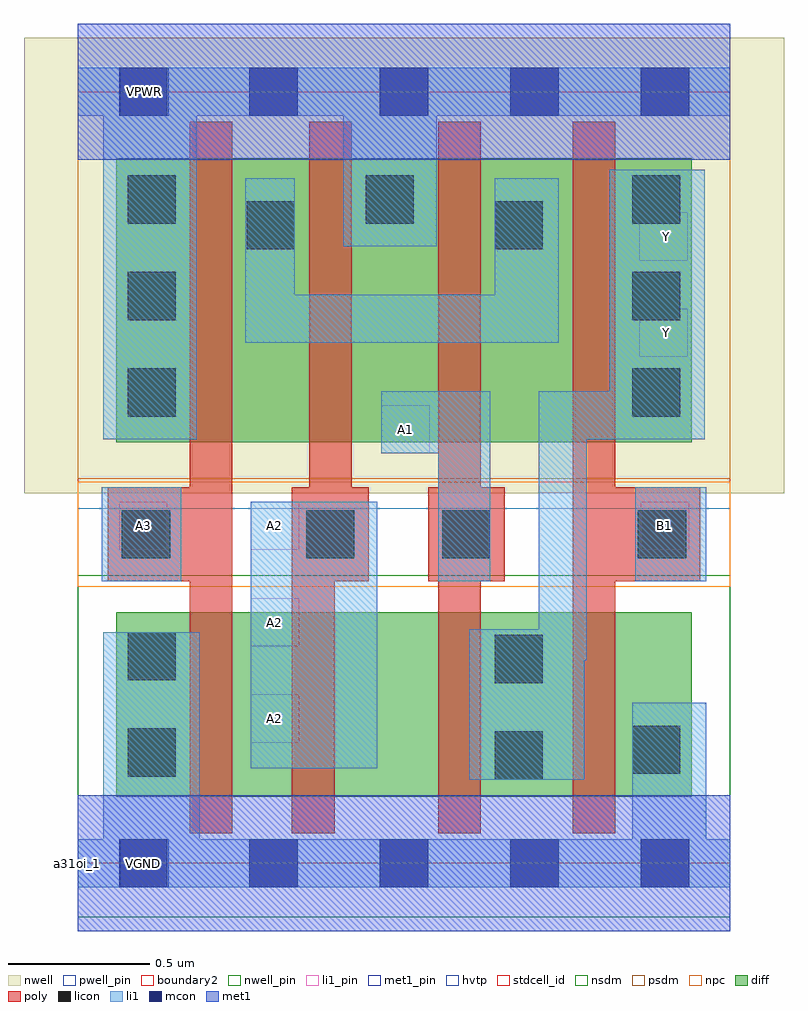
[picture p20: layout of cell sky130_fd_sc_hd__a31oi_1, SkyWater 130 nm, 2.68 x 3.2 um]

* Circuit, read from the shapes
.subckt sky130_fd_sc_hd__a31oi_1 A1 A2 A3 B1 VGND VNB VPB VPWR Y
XM1 n1 A3 VGND VNB sky130_fd_pr__nfet_01v8 w=0.65 l=0.15
XM2 n2 A2 n1 VNB sky130_fd_pr__nfet_01v8 w=0.65 l=0.15
XM3 Y A1 n2 VNB sky130_fd_pr__nfet_01v8 w=0.65 l=0.15
XM4 VGND B1 Y VNB sky130_fd_pr__nfet_01v8 w=0.65 l=0.15
XM5 n3 A3 VPWR VPB sky130_fd_pr__pfet_01v8_hvt w=1 l=0.15
XM6 VPWR A2 n3 VPB sky130_fd_pr__pfet_01v8_hvt w=1 l=0.15
XM7 n3 A1 VPWR VPB sky130_fd_pr__pfet_01v8_hvt w=1 l=0.15
XM8 Y B1 n3 VPB sky130_fd_pr__pfet_01v8_hvt w=1 l=0.15
.ends

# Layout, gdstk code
import gdstk
lib = gdstk.Library(unit=1e-6, precision=1e-09)
def R(c, l, rs):  # rectangles x0, y0, x1, y1
    for r in rs: c.add(gdstk.rectangle(r[:2], r[2:], *l))
def A(c, l, x, y, w, h, nx, ny, dx, dy):  # array of equal rectangles
    R(c, l, [(x+i*dx, y+j*dy, x+i*dx+w, y+j*dy+h) for i in range(nx) for j in range(ny)])
def P(c, l, *ps):  # polygons
    for p in ps: c.add(gdstk.Polygon(p, *l))
nwell_pin = (64, 16)
nwell = (64, 20)
diff = (65, 20)
poly = (66, 20)
licon = (66, 44)
li1_pin = (67, 16)
li1 = (67, 20)
mcon = (67, 44)
met1_pin = (68, 16)
met1 = (68, 20)
hvtp = (78, 44)
stdcell_id = (81, 4)
nsdm = (93, 44)
psdm = (94, 20)
npc = (95, 20)
pwell_pin = (122, 16)
boundary2 = (236, 0)

sky130_fd_sc_hd__a31oi_1 = lib.new_cell('sky130_fd_sc_hd__a31oi_1')
R(sky130_fd_sc_hd__a31oi_1, nwell_pin, [(0.15,2.635,0.32,2.805)])
R(sky130_fd_sc_hd__a31oi_1, nwell, [(-0.19,1.305,2.49,2.91)])
R(sky130_fd_sc_hd__a31oi_1, diff, [(0.135,0.235,2.165,0.885), (0.135,1.485,2.165,2.485)])
P(sky130_fd_sc_hd__a31oi_1, poly, [(0.545,2.615),(0.395,2.615),(0.395,1.325),(0.105,1.325),(0.105,0.995),(0.395,0.995),(0.395,0.105),(0.545,0.105)],
  [(1.025,1.325),(0.965,1.325),(0.965,2.615),(0.815,2.615),(0.815,1.325),(0.755,1.325),(0.755,0.105),(0.905,0.105),(0.905,0.995),(1.025,0.995)],
  [(1.505,1.325),(1.42,1.325),(1.42,2.615),(1.27,2.615),(1.27,1.325),(1.235,1.325),(1.235,0.995),(1.27,0.995),(1.27,0.105),(1.42,0.105),(1.42,0.995),(1.505,0.995)],
  [(2.195,1.325),(1.895,1.325),(1.895,2.615),(1.745,2.615),(1.745,0.105),(1.895,0.105),(1.895,0.995),(2.195,0.995)])
A(sky130_fd_sc_hd__a31oi_1, licon, 0.175, 1.575, 0.17, 0.17, 1, 3, 0, 0.34)
A(sky130_fd_sc_hd__a31oi_1, licon, 1.955, 1.575, 0.17, 0.17, 1, 3, 0, 0.34)
R(sky130_fd_sc_hd__a31oi_1, licon, [(1.47,0.295,1.64,0.465), (0.175,0.305,0.345,0.475), (1.955,0.315,2.125,0.485), (1.47,0.635,1.64,0.805), (0.175,0.645,0.345,0.815), (0.155,1.075,0.325,1.245), (0.805,1.075,0.975,1.245), (1.285,1.075,1.455,1.245), (1.975,1.075,2.145,1.245), (0.595,2.165,0.765,2.335), (1.47,2.165,1.64,2.335), (1.015,2.255,1.185,2.425)])
A(sky130_fd_sc_hd__a31oi_1, li1_pin, 0.61, 0.425, 0.17, 0.17, 1, 3, 0, 0.34)
R(sky130_fd_sc_hd__a31oi_1, li1_pin, [(0.145,1.105,0.315,1.275), (1.985,1.105,2.155,1.275), (1.07,1.445,1.24,1.615), (1.98,1.785,2.15,1.955), (1.98,2.125,2.15,2.295)])
R(sky130_fd_sc_hd__a31oi_1, li1, [(0.61,0.335,1.055,1.275), (0.085,0.995,0.365,1.325), (1.965,0.995,2.215,1.325)])
P(sky130_fd_sc_hd__a31oi_1, li1, [(2.3,0.085),(2.215,0.085),(2.215,0.565),(1.955,0.565),(1.955,0.085),(0.43,0.085),(0.43,0.815),(0.09,0.815),(0.09,0.085),(0,0.085),(0,-0.085),(2.3,-0.085)],
  [(2.3,2.805),(0,2.805),(0,2.635),(0.09,2.635),(0.09,1.495),(0.42,1.495),(0.42,2.635),(0.935,2.635),(0.935,2.175),(1.265,2.175),(1.265,2.635),(2.3,2.635)],
  [(1.455,1.665),(1.07,1.665),(1.07,1.445),(1.27,1.445),(1.27,0.995),(1.455,0.995)],
  [(1.695,2.415),(1.47,2.415),(1.47,2.005),(0.765,2.005),(0.765,2.415),(0.59,2.415),(0.59,1.835),(1.695,1.835)],
  [(2.21,2.445),(1.875,2.445),(1.875,1.665),(1.625,1.665),(1.625,0.825),(1.38,0.825),(1.38,0.295),(1.785,0.295),(1.785,0.715),(1.795,0.715),(1.795,1.495),(2.21,1.495)])
A(sky130_fd_sc_hd__a31oi_1, mcon, 0.145, -0.085, 0.17, 0.17, 5, 2, 0.46, 2.72)
R(sky130_fd_sc_hd__a31oi_1, met1_pin, [(0.15,-0.085,0.32,0.085), (0.15,2.635,0.32,2.805)])
R(sky130_fd_sc_hd__a31oi_1, hvtp, [(0,1.25,2.3,2.72)])
R(sky130_fd_sc_hd__a31oi_1, stdcell_id, [(0,0,2.3,2.72)])
R(sky130_fd_sc_hd__a31oi_1, nsdm, [(0,-0.19,2.3,1.015)])
R(sky130_fd_sc_hd__a31oi_1, psdm, [(0,1.355,2.3,2.91)])
R(sky130_fd_sc_hd__a31oi_1, npc, [(0,0.975,2.3,1.345)])
R(sky130_fd_sc_hd__a31oi_1, pwell_pin, [(0.15,-0.085,0.32,0.085)])
R(sky130_fd_sc_hd__a31oi_1, boundary2, [(0,0,2.3,2.72)])
sky130_fd_sc_hd__a31oi_1.add(gdstk.FlexPath([(0,2.72),(2.3,2.72)], 0.48, ends="flush", simple_path=True, layer=68, datatype=20))  # met1
sky130_fd_sc_hd__a31oi_1.add(gdstk.FlexPath([(0,0),(2.3,0)], 0.48, ends="flush", simple_path=True, layer=68, datatype=20))  # met1
sky130_fd_sc_hd__a31oi_1.add(gdstk.Label('VGND', (0.23,0), layer=68, texttype=5))
sky130_fd_sc_hd__a31oi_1.add(gdstk.Label('VPWR', (0.235,2.72), layer=68, texttype=5))
sky130_fd_sc_hd__a31oi_1.add(gdstk.Label('Y', (2.075,2.21), layer=67, texttype=5))
sky130_fd_sc_hd__a31oi_1.add(gdstk.Label('Y', (2.075,1.87), layer=67, texttype=5))
sky130_fd_sc_hd__a31oi_1.add(gdstk.Label('B1', (2.07,1.19), layer=67, texttype=5))
sky130_fd_sc_hd__a31oi_1.add(gdstk.Label('A2', (0.695,1.19), layer=67, texttype=5))
sky130_fd_sc_hd__a31oi_1.add(gdstk.Label('A2', (0.695,0.85), layer=67, texttype=5))
sky130_fd_sc_hd__a31oi_1.add(gdstk.Label('A1', (1.155,1.53), layer=67, texttype=5))
sky130_fd_sc_hd__a31oi_1.add(gdstk.Label('A2', (0.695,0.51), layer=67, texttype=5))
sky130_fd_sc_hd__a31oi_1.add(gdstk.Label('A3', (0.23,1.19), layer=67, texttype=5))
sky130_fd_sc_hd__a31oi_1.add(gdstk.Label('VPB', (0.235,2.72), layer=64, texttype=5))
sky130_fd_sc_hd__a31oi_1.add(gdstk.Label('VNB', (0.235,0), layer=64, texttype=59))
sky130_fd_sc_hd__a31oi_1.add(gdstk.Label('a31oi_1', (0,0), layer=83, texttype=44))

lib.write_gds('sky130_fd_sc_hd__a31oi_1.gds')
